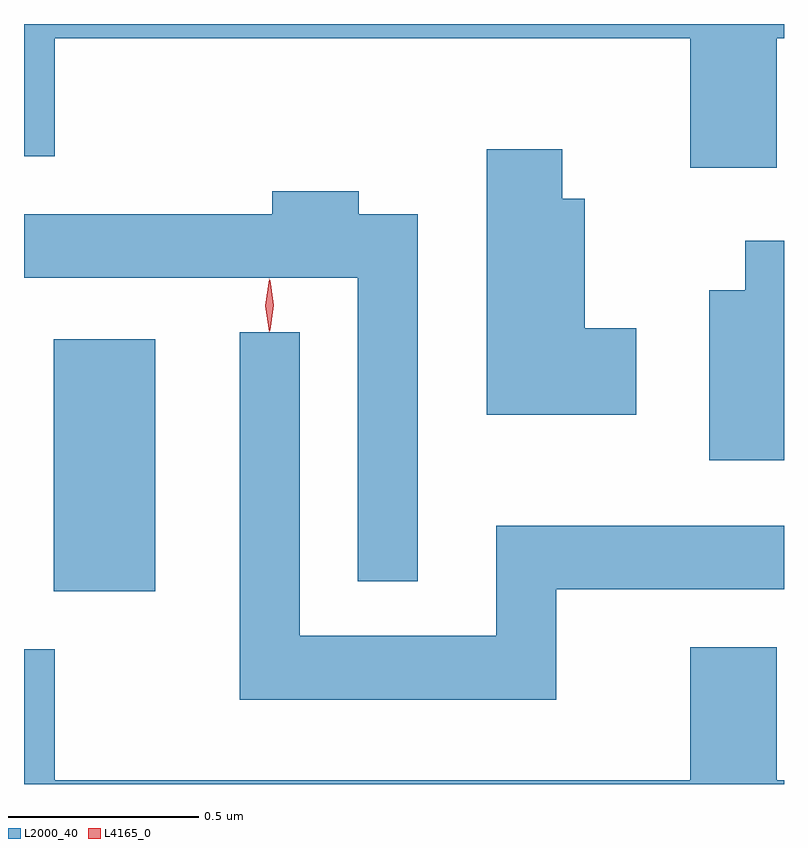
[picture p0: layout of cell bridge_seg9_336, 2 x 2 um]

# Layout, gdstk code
import gdstk
lib = gdstk.Library(unit=1e-6, precision=1e-09)
def R(c, l, rs):  # rectangles x0, y0, x1, y1
    for r in rs: c.add(gdstk.rectangle(r[:2], r[2:], *l))
def P(c, l, *ps):  # polygons
    for p in ps: c.add(gdstk.Polygon(p, *l))
L2000_40 = (2000, 40)
L4165_0 = (4165, 0)

bridge_seg9_336 = lib.new_cell('bridge_seg9_336')
R(bridge_seg9_336, L2000_40, [(980.426,2074.721,980.694,2075.384)])
P(bridge_seg9_336, L2000_40, [(982.329,2076.176),(982.348,2076.176),(982.348,2076.214),(980.348,2076.214),(980.348,2075.866),(980.429,2075.866),(980.429,2076.176),(982.101,2076.176),(982.101,2075.836),(982.329,2075.836)],
  [(981.959,2075.414),(981.824,2075.414),(981.824,2075.754),(981.764,2075.754),(981.764,2075.884),(981.566,2075.884),(981.566,2075.186),(981.959,2075.186)],
  [(981.384,2075.714),(981.229,2075.714),(981.229,2075.774),(981.001,2075.774),(981.001,2075.714),(980.348,2075.714),(980.348,2075.546),(981.226,2075.546),(981.226,2074.748),(981.384,2074.748)],
  [(982.348,2075.644),(982.246,2075.644),(982.246,2075.514),(982.151,2075.514),(982.151,2075.066),(982.348,2075.066)],
  [(981.749,2074.726),(982.348,2074.726),(982.348,2074.894),(981.591,2074.894),(981.591,2074.604),(981.074,2074.604),(981.074,2075.403),(980.916,2075.403),(980.916,2074.436),(981.749,2074.436)],
  [(982.348,2074.224),(982.329,2074.224),(982.329,2074.574),(982.101,2074.574),(982.101,2074.224),(980.429,2074.224),(980.429,2074.569),(980.348,2074.569),(980.348,2074.214),(982.348,2074.214)])
P(bridge_seg9_336, L4165_0, [(980.993,2075.403),(980.993,2075.404),(980.983,2075.473),(980.993,2075.542),(980.993,2075.543),(980.994,2075.542),(981.003,2075.473),(980.994,2075.404)],
  [(980.995,2075.407),(980.995,2075.408),(980.985,2075.474),(980.995,2075.54),(980.995,2075.54),(980.996,2075.54),(981.005,2075.474),(980.996,2075.408)])

lib.write_gds('bridge_seg9_336.gds')
